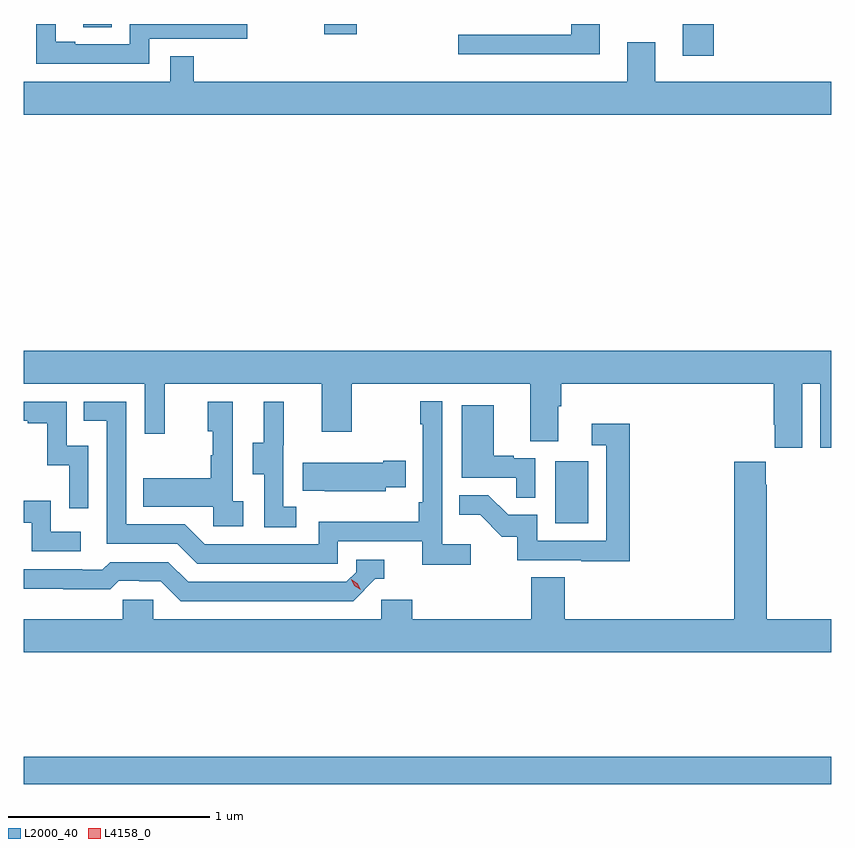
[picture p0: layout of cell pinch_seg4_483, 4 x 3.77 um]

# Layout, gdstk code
import gdstk
lib = gdstk.Library(unit=1e-6, precision=1e-09)
def R(c, l, rs):  # rectangles x0, y0, x1, y1
    for r in rs: c.add(gdstk.rectangle(r[:2], r[2:], *l))
def P(c, l, *ps):  # polygons
    for p in ps: c.add(gdstk.Polygon(p, *l))
L2000_40 = (2000, 40)
L4158_0 = (4158, 0)

pinch_seg4_483 = lib.new_cell('pinch_seg4_483')
R(pinch_seg4_483, L2000_40, [(923.968,758.872,927.968,759.008), (926.6,760.164,926.764,760.471), (927.233,762.48,927.386,762.638), (925.457,762.588,925.618,762.638), (924.263,762.622,924.403,762.638)])
P(pinch_seg4_483, L2000_40, [(926.821,762.638),(926.681,762.638),(926.681,762.585),(926.121,762.585),(926.121,762.488),(926.821,762.488)],
  [(924.588,762.564),(925.075,762.564),(925.075,762.638),(924.492,762.638),(924.492,762.537),(924.223,762.537),(924.223,762.55),(924.127,762.55),(924.127,762.638),(924.03,762.638),(924.03,762.441),(924.588,762.441)],
  [(926.957,762.547),(926.957,762.352),(924.809,762.352),(924.809,762.479),(924.693,762.479),(924.693,762.352),(923.968,762.352),(923.968,762.188),(927.968,762.188),(927.968,762.352),(927.097,762.352),(927.097,762.547)],
  [(927.826,760.856),(927.914,760.856),(927.914,760.539),(927.968,760.539),(927.968,761.02),(923.968,761.02),(923.968,760.856),(924.567,760.856),(924.567,760.608),(924.665,760.608),(924.665,760.856),(925.445,760.856),(925.445,760.617),(925.593,760.617),(925.593,760.856),(926.477,760.856),(926.477,760.57),(926.617,760.57),(926.617,760.744),(926.63,760.744),(926.63,760.856),(927.683,760.856),(927.683,760.651),(927.689,760.651),(927.689,760.539),(927.826,760.539)],
  [(926.182,760.06),(926.04,760.06),(926.04,760.768),(925.932,760.768),(925.932,760.655),(925.944,760.655),(925.944,760.267),(925.924,760.267),(925.924,760.171),(925.428,760.171),(925.428,760.059),(924.864,760.059),(924.765,760.158),(924.474,760.158),(924.474,760.767),(924.265,760.767),(924.265,760.671),(924.378,760.671),(924.378,760.062),(924.728,760.062),(924.827,759.963),(925.524,759.963),(925.524,760.074),(925.943,760.074),(925.943,759.958),(926.182,759.958)],
  [(924.288,760.548),(924.18,760.548),(924.18,760.767),(923.968,760.767),(923.968,760.671),(923.987,760.671),(923.987,760.659),(924.083,760.659),(924.083,760.451),(924.192,760.451),(924.192,760.239),(924.288,760.239)],
  [(925.318,760.247),(925.254,760.247),(925.254,760.551),(925.256,760.551),(925.256,760.765),(925.157,760.765),(925.157,760.563),(925.103,760.563),(925.103,760.408),(925.158,760.408),(925.158,760.144),(925.318,760.144)],
  [(925.054,760.274),(925.002,760.274),(925.002,760.765),(924.878,760.765),(924.878,760.62),(924.904,760.62),(924.904,760.502),(924.894,760.502),(924.894,760.387),(924.559,760.387),(924.559,760.247),(924.906,760.247),(924.906,760.149),(925.054,760.149)],
  [(926.502,760.485),(926.396,760.485),(926.396,760.498),(926.296,760.498),(926.296,760.75),(926.138,760.75),(926.138,760.389),(926.407,760.389),(926.407,760.291),(926.502,760.291)],
  [(926.969,760.657),(926.781,760.657),(926.781,760.551),(926.853,760.551),(926.853,760.077),(926.511,760.077),(926.511,760.206),(926.367,760.206),(926.269,760.304),(926.125,760.304),(926.125,760.205),(926.229,760.205),(926.336,760.098),(926.413,760.098),(926.413,759.981),(926.731,759.981),(926.731,759.976),(926.969,759.976)],
  [(925.761,760.343),(925.859,760.343),(925.859,760.473),(925.748,760.473),(925.748,760.465),(925.351,760.465),(925.351,760.325),(925.459,760.325),(925.459,760.322),(925.761,760.322)],
  [(927.968,759.688),(927.648,759.688),(927.648,760.355),(927.643,760.355),(927.643,760.468),(927.488,760.468),(927.488,759.688),(926.648,759.688),(926.648,759.896),(926.483,759.896),(926.483,759.688),(925.892,759.688),(925.892,759.786),(925.74,759.786),(925.74,759.688),(924.609,759.688),(924.609,759.786),(924.459,759.786),(924.459,759.688),(923.968,759.688),(923.968,759.524),(927.968,759.524)],
  [(924.25,760.122),(924.102,760.122),(924.102,760.276),(923.968,760.276),(923.968,760.167),(924.006,760.167),(924.006,760.026),(924.25,760.026)],
  [(925.71,759.888),(925.753,759.888),(925.753,759.984),(925.614,759.984),(925.614,759.921),(925.566,759.873),(924.783,759.873),(924.684,759.972),(924.395,759.972),(924.356,759.933),(924.257,759.933),(924.257,759.936),(923.968,759.936),(923.968,759.839),(924.162,759.839),(924.162,759.837),(924.395,759.837),(924.437,759.879),(924.54,759.879),(924.54,759.876),(924.647,759.876),(924.746,759.777),(925.599,759.777)])
P(pinch_seg4_483, L4158_0, [(925.636,759.835),(925.606,759.854),(925.59,759.887),(925.59,759.887),(925.59,759.887),(925.621,759.868),(925.637,759.835),(925.637,759.835)])

lib.write_gds('pinch_seg4_483.gds')
